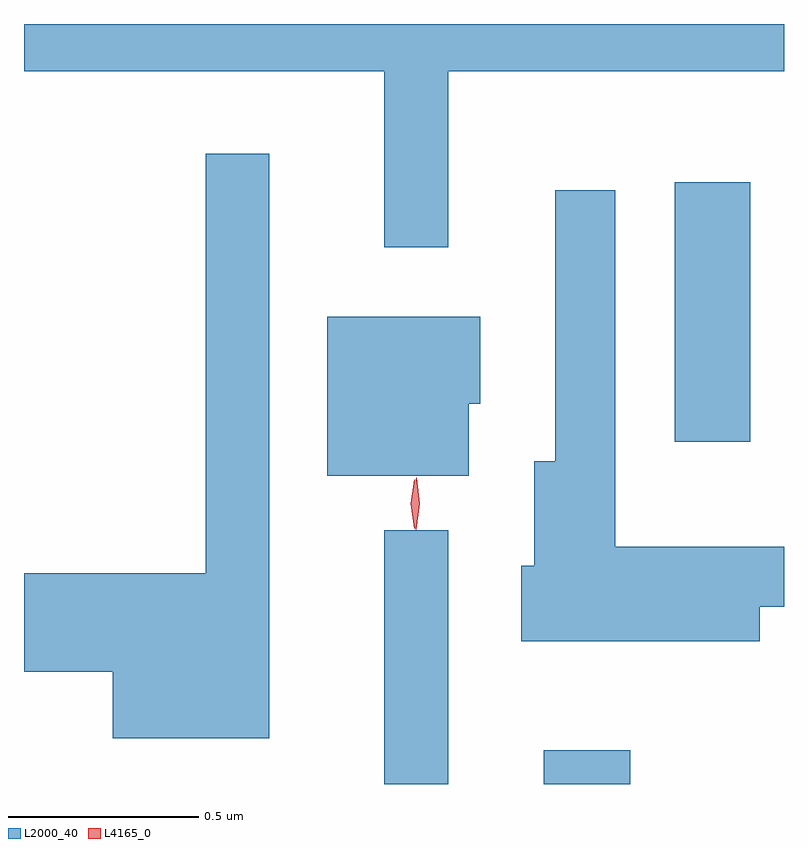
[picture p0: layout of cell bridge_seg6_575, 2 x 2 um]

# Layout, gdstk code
import gdstk
lib = gdstk.Library(unit=1e-6, precision=1e-09)
def R(c, l, rs):  # rectangles x0, y0, x1, y1
    for r in rs: c.add(gdstk.rectangle(r[:2], r[2:], *l))
def P(c, l, *ps):  # polygons
    for p in ps: c.add(gdstk.Polygon(p, *l))
L2000_40 = (2000, 40)
L4165_0 = (4165, 0)

bridge_seg6_575 = lib.new_cell('bridge_seg6_575')
R(bridge_seg6_575, L2000_40, [(492.401,1652.5,492.569,1653.168), (492.821,1652.5,493.049,1652.589), (493.166,1653.401,493.364,1654.084)])
P(bridge_seg6_575, L2000_40, [(492.569,1654.376),(493.453,1654.376),(493.453,1654.5),(491.453,1654.5),(491.453,1654.376),(492.401,1654.376),(492.401,1653.913),(492.569,1653.913)],
  [(492.099,1654.158),(491.931,1654.158),(491.931,1653.054),(491.453,1653.054),(491.453,1652.796),(491.686,1652.796),(491.686,1652.621),(492.099,1652.621)],
  [(493.389,1652.966),(493.453,1652.966),(493.453,1653.124),(493.009,1653.124),(493.009,1654.063),(492.851,1654.063),(492.851,1653.349),(492.796,1653.349),(492.796,1653.074),(492.761,1653.074),(492.761,1652.876),(493.389,1652.876)],
  [(492.624,1653.501),(492.654,1653.501),(492.654,1653.729),(492.251,1653.729),(492.251,1653.311),(492.624,1653.311)])
P(bridge_seg6_575, L4165_0, [(492.481,1653.172),(492.48,1653.173),(492.471,1653.237),(492.48,1653.301),(492.481,1653.301),(492.481,1653.301),(492.491,1653.237),(492.481,1653.173)],
  [(492.485,1653.169),(492.484,1653.17),(492.475,1653.238),(492.485,1653.306),(492.486,1653.306),(492.486,1653.306),(492.495,1653.238),(492.485,1653.17)])

lib.write_gds('bridge_seg6_575.gds')
